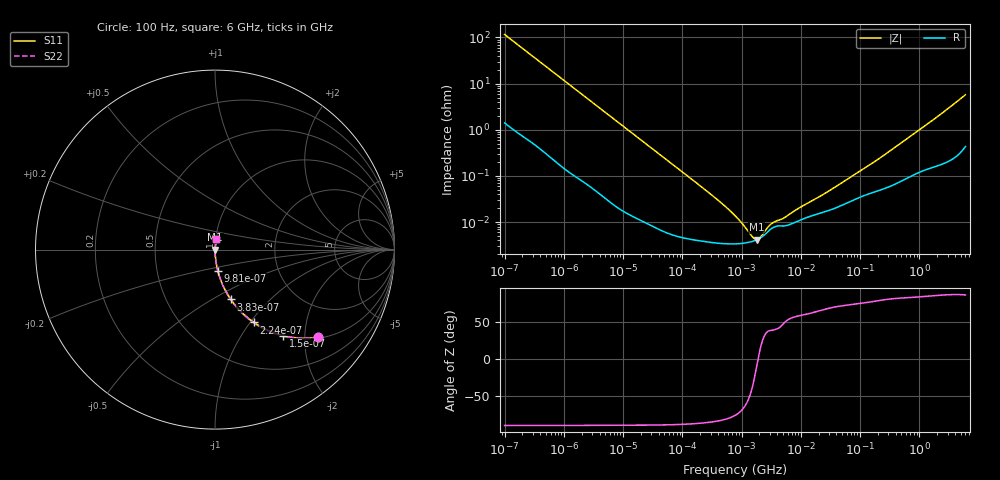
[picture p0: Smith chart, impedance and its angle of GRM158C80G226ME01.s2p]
!Murata Part Number: GRM158C80G226ME01
!These Parameters are Measured in Series Mode Connection
!Data Generated on Mar 30, 2021
!  o--ll--o
!Port1  Port2
!  o------o
!Operation Temp=25[degC], DC Bias Voltage=0[V]
!Freq. Start=100[Hz] Stop=6[GHz] 401[Steps]
# Hz S RI R 50
!Freq.(Hz) S11(Real) S11(Imag) S21(Real) S21(Imag) S12(Real) S12(Imag) S22(Real) S22(Imag)
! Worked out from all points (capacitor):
!   401 points, 100 Hz to 6 GHz, reference 50 ohm
!   read as one part in series: C = 13.7 uF near 109 Hz
!   lowest |Z| = 4.2 mohm at 1.814 MHz (marker M1)
!   series resonance near 1.901 MHz, so ESL is about 510 pH
!   S11 on the Smith chart (normalised r, x): 100 Hz: 1.03, -2.32; 150 Hz: 1.02, -1.56; 224 Hz: 1.01, -1.04; 383 Hz: 1.01, -0.61; 981 Hz: 1.00, -0.24; 6 GHz: 1.01, +0.11
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100  0.5733 -0.4886  0.4267 0.4886  0.4267 0.4886  0.5733 -0.4886
150  0.3786 -0.479  0.6214 0.479  0.6214 0.479  0.3786 -0.479
224  0.2169 -0.4058  0.7831 0.4058  0.7831 0.4058  0.2169 -0.4058
383  0.0888 -0.278  0.9112 0.278  0.9112 0.278  0.0888 -0.278
573  0.0428 -0.1961  0.9572 0.1961  0.9572 0.1961  0.0428 -0.1961
981  0.0157 -0.1184  0.9843 0.1184  0.9843 0.1184  0.0157 -0.1184
2008  0.00426 -0.0589  0.9957 0.0589  0.9957 0.0589  0.00426 -0.0589
6433  0.000601 -0.0186  0.9994 0.0186  0.9994 0.0186  0.000601 -0.0186
40335  7.84e-05 -0.00302  0.9999 0.00302  0.9999 0.00302  7.84e-05 -0.00302
330837  3.6e-05 -0.000363  1 0.000363  1 0.000363  3.6e-05 -0.000363
774597  3.38e-05 -0.000134  1 0.000134  1 0.000134  3.38e-05 -0.000134
926525  3.42e-05 -0.000103  1 0.000103  1 0.000103  3.42e-05 -0.000103
1013323  3.45e-05 -8.83e-05  1 8.83e-05  1 8.83e-05  3.45e-05 -8.83e-05
1813585  4.15e-05 -6.2e-06  1 6.2e-06  1 6.2e-06  4.15e-05 -6.2e-06
3245845  7.35e-05 5.8e-05  0.9999 -5.8e-05  0.9999 -5.8e-05  7.35e-05 5.8e-05
4440638  8.29e-05 7.57e-05  0.9999 -7.57e-05  0.9999 -7.57e-05  8.29e-05 7.57e-05
1.555665e7  0.000138 0.000256  0.9999 -0.000256  0.9999 -0.000256  0.000138 0.000256
2.911731e7  0.000177 0.000429  0.9998 -0.000429  0.9998 -0.000429  0.000177 0.000429
1.066761e8  0.00036 0.00129  0.9996 -0.00129  0.9996 -0.00129  0.00036 0.00129
3.124326e8  0.000597 0.00335  0.9994 -0.00335  0.9994 -0.00335  0.000597 0.00335
1.873145e9  0.00192 0.0178  0.9981 -0.0178  0.9981 -0.0178  0.00192 0.0178
6e9  0.00753 0.0565  0.9925 -0.0565  0.9925 -0.0565  0.00753 0.0565
